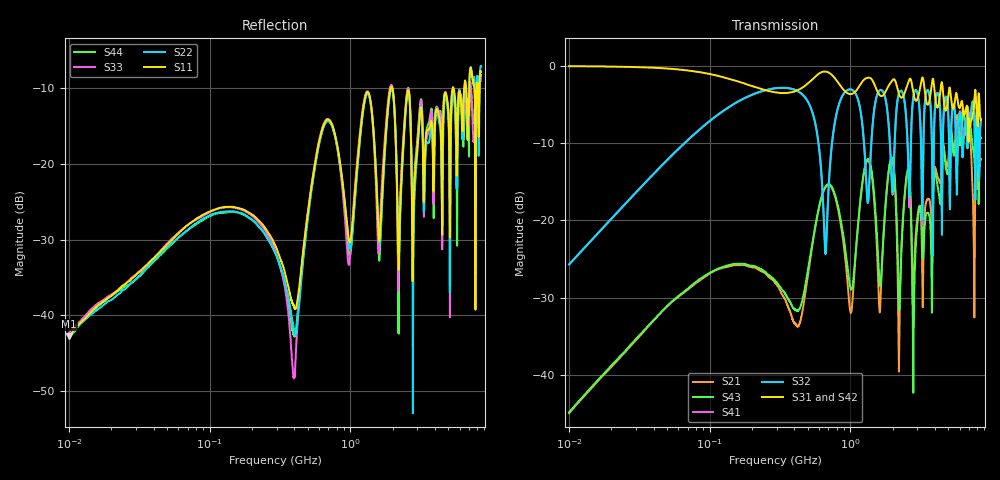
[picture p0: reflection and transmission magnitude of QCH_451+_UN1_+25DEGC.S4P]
!Mini-Circuits Laboratory
!S-Parameters
!Model: QCH-451+
!DATA FOR: UNIT # 1
!Unit soldered on TB-914+
!Date: Sun Oct 15 15:06:04 2023
!Data & Calibration Information:
!Freq	S11:SOLT4(ON)	S12:SOLT4(ON)	S13:SOLT4(ON)	S14:SOLT4(ON)
!	S21:SOLT4(ON)	S22:SOLT4(ON)	S23:SOLT4(ON)	S24:SOLT4(ON)
!	S31:SOLT4(ON)	S32:SOLT4(ON)	S33:SOLT4(ON)	S34:SOLT4(ON)
!	S41:SOLT4(ON)	S42:SOLT4(ON)	S43:SOLT4(ON)	S44:SOLT4(ON)
!PortZ  Port1:50+j0  Port2:50+j0  Port3:50+j0  Port4:50+j0
!Above PortZ is port z conversion or system Z0 setting when saving the data.
!When reading, reference impedance value at option line is always used.
!PORT EXTENSION DONE ON TEST BOARD WITH LOSS ON AND MISMATCH ON
!Agilent Technologies,E5071C,MY46213417,A.11.34
# Hz S RI R 50
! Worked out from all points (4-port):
!   1601 points, 10 MHz to 8.5 GHz, reference 50 ohm
!   strongest paths, dB at 10 MHz, 317.5 MHz, 698 MHz, 4.5 GHz, 8.5 GHz:
!     S31: 0.0, -3.5, -0.8, -2.2, -7.0
!     S42: 0.0, -3.5, -0.8, -2.3, -7.5
!     S32: -25.7, -2.8, -16.5, -20.2, -7.0
!     S41: -25.7, -2.8, -16.4, -17.7, -6.9
!     S43: -44.8, -28.6, -15.3, -11.7, -9.3
!     S21: -44.9, -29.1, -15.4, -10.8, -12.0
!   lowest |S11| = -42.8 dB at 10 MHz (marker M1), VSWR 1.01, Z = 50.3 - j0.683 ohm
!   |S11| at or under -10 dB: start of sweep to 1.936 GHz; 1.995 GHz to 5.347 GHz (3.352 GHz wide, 91.3 % of centre); 5.426 GHz to 6.466 GHz (1.039 GHz wide, 17.5 % of centre)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
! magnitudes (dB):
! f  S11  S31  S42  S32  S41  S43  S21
! 10 MHz  -42.8  0.0  0.0  -25.7  -25.7  -44.8  -44.9
! 156 MHz  -25.8  -2.0  -2.0  -4.7  -4.7  -25.6  -25.8
! 398 MHz  -38.8  -3.3  -3.3  -3.1  -3.1  -31.4  -33.2
! 662 MHz  -14.5  -0.7  -0.7  -23.9  -23.4  -15.7  -15.8
! 2.58 GHz  -10.3  -2.2  -2.2  -11.7  -12.1  -13.3  -13.7
! 2.82 GHz  -26.5  -3.6  -3.6  -3.8  -3.9  -37.7  -28.5
! 8.5 GHz  -7.8  -7.0  -7.5  -7.0  -6.9  -9.3  -12.0
